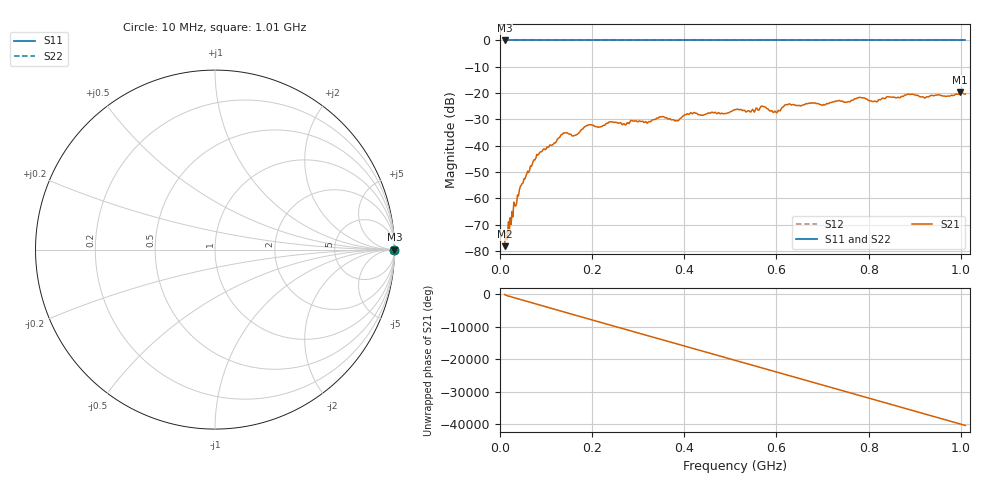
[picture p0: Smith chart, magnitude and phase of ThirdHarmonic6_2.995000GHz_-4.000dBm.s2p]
! 8/17/2025 8:32:45 AM
! C:\ANRITSUVNA\TEMP\TEMP.S2P
! CHANNEL.1
! TR.MEASUREMENT
! RAW.DATA
! RF.CORRECTION.OFF
! AVERAGING.OFF
! IF.BANDWIDTH: 5KHZ
! SWEEPTYPE:  FREQ.SWEEP(Linear)
! Reference Plane Port Info
! PORT:  PORT1  PORT2
! DISTANCE:  0  m  0  m
! TIME:  0  s  0  s
! PHASE.OFFSET:  0  deg.  0  deg.
! LOSS:  0  dB  0  dB
! REF.LOSS:  0  dB  0  dB
! REF.FREQ:  0  Hz  0  Hz
! Power Info
! POWER:  -20  dBm  -20  dBm
! EFF.POWER:  -20  dBm  -20  dBm
! SOURCE.ATTEN:  0  dB  0  dB
! TEST.ATTEN:  0  dB  0  dB
# GHZ S RI R 50.0
! FREQ.GHZ  S11RE  S11IM  S21RE  S21IM  S12RE  S12IM  S22RE  S22IM
!; PortSelection: Port_12
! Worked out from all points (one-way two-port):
!   501 points, 10 MHz to 1.01 GHz, reference 50 ohm
!   highest |S21| = -19.65 dB at 998 MHz (marker M1); lowest = -78.2 dB at 10 MHz (marker M2)
!   lowest |S11| = 0.0 dB at 10 MHz (marker M3)
!   |S11| at or under -10 dB: nowhere
!   |S22| runs from 0.0 to 0.0 dB; largest |S21 - S12| = 1.1
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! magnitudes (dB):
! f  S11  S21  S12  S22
! 10 MHz  0.0  -78.2  0.0  0.0
! 42 MHz  0.0  -56.9  0.0  0.0
! 76 MHz  0.0  -45.4  0.0  0.0
! 136 MHz  0.0  -35.6  0.0  0.0
! 162 MHz  0.0  -36.1  0.0  0.0
! 178 MHz  0.0  -33.8  0.0  0.0
! 192 MHz  0.0  -32.1  0.0  0.0
! 322 MHz  0.0  -30.9  0.0  0.0
! 344 MHz  0.0  -29.5  0.0  0.0
! 384 MHz  0.0  -30.4  0.0  0.0
! 410 MHz  0.0  -28.1  0.0  0.0
! 510 MHz  0.0  -26.3  0.0  0.0
! 548 MHz  0.0  -26.2  0.0  0.0
! 570 MHz  0.0  -25.0  0.0  0.0
! 598 MHz  0.0  -27.0  0.0  0.0
! 624 MHz  0.0  -24.5  0.0  0.0
! 678 MHz  0.0  -23.7  0.0  0.0
! 780 MHz  0.0  -21.6  0.0  0.0
! 814 MHz  0.0  -23.0  0.0  0.0
! 844 MHz  0.0  -21.4  0.0  0.0
! 998 MHz  0.0  -19.7  0.0  0.0
! 1.01 GHz  0.0  -20.4  0.0  0.0
